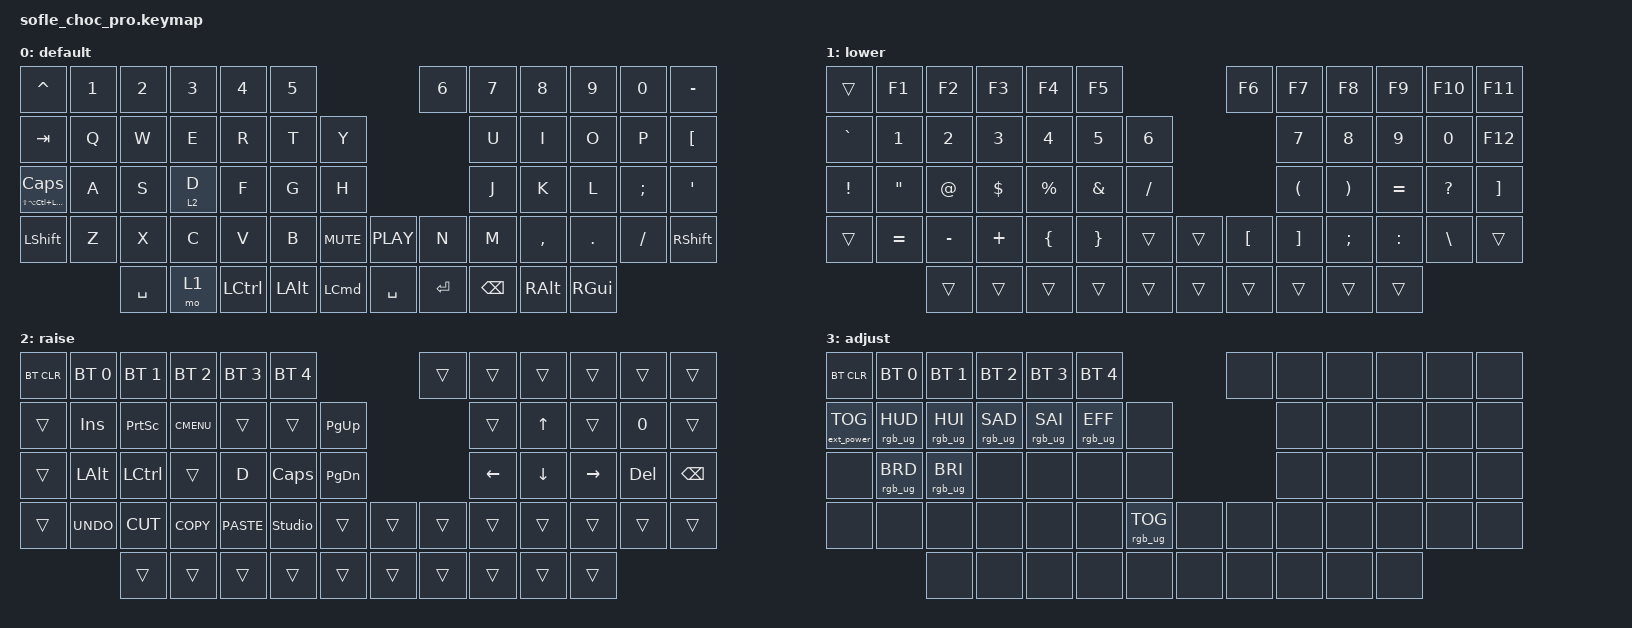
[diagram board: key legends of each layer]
/*
* Copyright (c) 2020 The ZMK Contributors
*
* SPDX-License-Identifier: MIT
*/

#include <behaviors.dtsi>
#include <dt-bindings/zmk/bt.h>
#include <dt-bindings/zmk/ext_power.h>
#include <dt-bindings/zmk/keys.h>
#include <dt-bindings/zmk/rgb.h>

#define BASE 0
#define LOWER 1
#define RAISE 2
#define ADJUST 3

/ {
    // Activate ADJUST layer by pressing raise and lower

    conditional_layers {
        compatible = "zmk,conditional-layers";

        adjust_layer {
            if-layers = <LOWER RAISE>;
            then-layer = <ADJUST>;
        };
    };

    keymap {
        compatible = "zmk,keymap";

        default_layer {
            display-name = "default";

            // ------------------------------------------------------------------------------------------------------------
            // |   `   |  1  |  2  |  3   |  4   |  5   |                   |  6   |  7    |  8    |  9   |   0   |   `   |
            // |  ESC  |  Q  |  W  |  E   |  R   |  T   |                   |  Y   |  U    |  I    |  O   |   P   | BKSPC |
            // |  TAB  |  A  |  S  |  D   |  F   |  G   |                   |  H   |  J    |  K    |  L   |   ;   |   '   |
            // | SHIFT |  Z  |  X  |  C   |  V   |  B   |  MUTE  |  | PLAY  |  N   |  M    |  ,    |  .   |   /   | SHIFT |
            //               | GUI | ALT  | CTRL | LOWER|  ENTER |  | SPACE | RAISE| CTRL  | ALT   | GUI  |

            bindings = <
&kp CARET                  &kp N1  &kp N2     &kp N3   &kp N4            &kp N5                                      &kp N6     &kp N7         &kp N8     &kp N9    &kp N0     &kp MINUS
&kp TAB                    &kp Q   &kp W      &kp E    &kp R             &kp T         &kp Y                                    &kp U          &kp I      &kp O     &kp P      &kp LEFT_BRACKET
&mt LS(LA(LC(LGUI))) CAPS  &kp A   &kp S      &lt 2 D  &kp F             &kp G         &kp H                                    &kp J          &kp K      &kp L     &kp SEMI   &kp SQT
&kp LSHFT                  &kp Z   &kp X      &kp C    &kp V             &kp B         &kp C_MUTE        &kp C_PLAY  &kp N      &kp M          &kp COMMA  &kp DOT   &kp SLASH  &kp RSHFT
                                   &kp SPACE  &mo 1    &kp LEFT_CONTROL  &kp LEFT_ALT  &kp LEFT_COMMAND  &kp SPACE   &kp ENTER  &kp BACKSPACE  &kp RALT   &kp RGUI
            >;
        };

        lower_layer {
            display-name = "lower";

            // ------------------------------------------------------------------------------------------------------------
            // |       |  F1 |  F2 |  F3  |  F4  |  F5  |                   |  F6  |  F7   |  F8   |  F9  |  F10  |  F11  |
            // |   `   |  1  |  2  |  3   |  4   |  5   |                   |  6   |  7    |  8    |  9   |   0   |  F12  |
            // |       |  !  |  @  |  #   |  $   |  %   |                   |  ^   |  &    |  *    |  (   |   )   |   |   |
            // |       |  =  |  -  |  +   |  {   |  }   |        |  |       |  [   |  ]    |  ;    |  :   |   \   |       |
            //               |     |      |      |      |        |  |       |      |       |       |      |

            bindings = <
&trans           &kp F1             &kp F2     &kp F3      &kp F4       &kp F5                            &kp F6    &kp F7                &kp F8                 &kp F9     &kp F10       &kp F11
&kp GRAVE        &kp N1             &kp N2     &kp N3      &kp N4       &kp N5         &kp N6                       &kp N7                &kp N8                 &kp N9     &kp N0        &kp F12
&kp EXCLAMATION  &kp DOUBLE_QUOTES  &kp AT     &kp DOLLAR  &kp PERCENT  &kp AMPERSAND  &kp SLASH                    &kp LEFT_PARENTHESIS  &kp RIGHT_PARENTHESIS  &kp EQUAL  &kp QUESTION  &kp RIGHT_BRACKET
&trans           &kp EQUAL          &kp MINUS  &kp PLUS    &kp LBRC     &kp RBRC       &trans     &trans  &kp LBKT  &kp RBKT              &kp SEMI               &kp COLON  &kp BSLH      &trans
                                    &trans     &trans      &trans       &trans         &trans     &trans  &trans    &trans                &trans                 &trans
            >;
        };

        raise_layer {
            display-name = "raise";

            // ------------------------------------------------------------------------------------------------------------
            // | BTCLR | BT1  | BT2  |  BT3  |  BT4  |  BT5 |                |      |      |       |      |       |       |
            // |       | INS  | PSCR | GUI   |       |      |                | PGUP |      |   ^   |      |       |       |
            // |       | ALT  | CTRL | SHIFT |       | CAPS |                | PGDN |   <- |   v   |  ->  |  DEL  | BKSPC |
            // |       | UNDO | CUT  | COPY  | PASTE |      |      |  |      |      |      |       |      |       |       |
            //                |      |       |       |      |      |  |      |      |      |       |      |

            bindings = <
&bt BT_CLR  &bt BT_SEL 0  &bt BT_SEL 1  &bt BT_SEL 2  &bt BT_SEL 3  &bt BT_SEL 4                       &trans  &trans    &trans    &trans     &trans   &trans
&trans      &kp INS       &kp PSCRN     &kp K_CMENU   &trans        &trans          &kp PG_UP                  &trans    &kp UP    &trans     &kp N0   &trans
&trans      &kp LALT      &kp LCTRL     &trans        &kp D         &kp CLCK        &kp PG_DN                  &kp LEFT  &kp DOWN  &kp RIGHT  &kp DEL  &kp BSPC
&trans      &kp K_UNDO    &kp K_CUT     &kp K_COPY    &kp K_PASTE   &studio_unlock  &trans     &trans  &trans  &trans    &trans    &trans     &trans   &trans
                          &trans        &trans        &trans        &trans          &trans     &trans  &trans  &trans    &trans    &trans
            >;
        };

        adjust_layer {
            // ----------------------------------------------------------------------------------------------------------------------------
            // | BTCLR  |  BT1    |  BT2    |   BT3   |   BT4   |   BT5   |                  |      |      |       |      |       |       |
            // | EXTPWR | RGB_HUD | RGB_HUI | RGB_SAD | RGB_SAI | RGB_EFF |                  |      |      |       |      |       |       |
            // |        | RGB_BRD | RGB_BRI |         |         |         |                  |      |      |       |      |       |       |
            // |        |         |         |         |         |         | RGB_TOG | |      |      |      |       |      |       |       |
            //                    |         |         |         |         |         | |      |      |      |       |      |

            display-name = "adjust";
            bindings = <
&bt BT_CLR         &bt BT_SEL 0     &bt BT_SEL 1     &bt BT_SEL 2     &bt BT_SEL 3     &bt BT_SEL 4                             &none  &none  &none  &none  &none  &none
&ext_power EP_TOG  &rgb_ug RGB_HUD  &rgb_ug RGB_HUI  &rgb_ug RGB_SAD  &rgb_ug RGB_SAI  &rgb_ug RGB_EFF  &none                          &none  &none  &none  &none  &none
&none              &rgb_ug RGB_BRD  &rgb_ug RGB_BRI  &none            &none            &none            &none                          &none  &none  &none  &none  &none
&none              &none            &none            &none            &none            &none            &rgb_ug RGB_TOG  &none  &none  &none  &none  &none  &none  &none
                                    &none            &none            &none            &none            &none            &none  &none  &none  &none  &none
            >;
        };
    };
};
